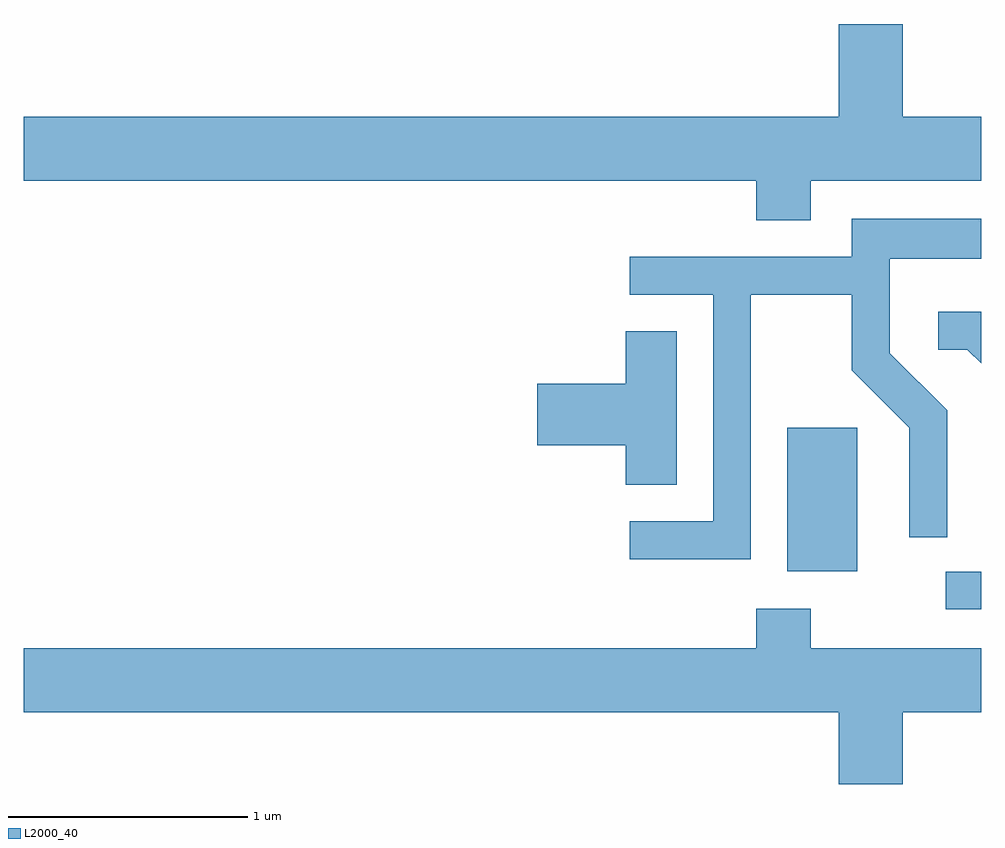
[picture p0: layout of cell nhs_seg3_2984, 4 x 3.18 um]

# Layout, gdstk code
import gdstk
lib = gdstk.Library(unit=1e-6, precision=1e-09)
def R(c, l, rs):  # rectangles x0, y0, x1, y1
    for r in rs: c.add(gdstk.rectangle(r[:2], r[2:], *l))
def P(c, l, *ps):  # polygons
    for p in ps: c.add(gdstk.Polygon(p, *l))
L2000_40 = (2000, 40)

nhs_seg3_2984 = lib.new_cell('nhs_seg3_2984')
R(nhs_seg3_2984, L2000_40, [(275.463,1237.446,275.611,1237.604), (274.801,1237.606,275.094,1238.204)])
P(nhs_seg3_2984, L2000_40, [(274.899,1239.236),(275.611,1239.236),(275.611,1239.504),(275.284,1239.504),(275.284,1239.892),(275.016,1239.892),(275.016,1239.504),(271.611,1239.504),(271.611,1239.236),(274.671,1239.236),(274.671,1239.071),(274.899,1239.071)],
  [(274.649,1238.761),(275.071,1238.761),(275.071,1238.444),(275.311,1238.204),(275.311,1237.748),(275.469,1237.748),(275.469,1238.277),(275.229,1238.517),(275.229,1238.911),(275.611,1238.911),(275.611,1239.079),(275.071,1239.079),(275.071,1238.919),(274.143,1238.919),(274.143,1238.761),(274.491,1238.761),(274.491,1237.814),(274.143,1237.814),(274.143,1237.656),(274.649,1237.656)],
  [(275.611,1238.689),(275.433,1238.689),(275.433,1238.531),(275.554,1238.531),(275.611,1238.474)],
  [(274.339,1238.609),(274.126,1238.609),(274.126,1238.389),(273.756,1238.389),(273.756,1238.131),(274.126,1238.131),(274.126,1237.966),(274.339,1237.966)],
  [(275.284,1237.016),(275.611,1237.016),(275.611,1237.284),(274.899,1237.284),(274.899,1237.449),(274.671,1237.449),(274.671,1237.284),(271.611,1237.284),(271.611,1237.016),(275.016,1237.016),(275.016,1236.716),(275.284,1236.716)])

lib.write_gds('nhs_seg3_2984.gds')
